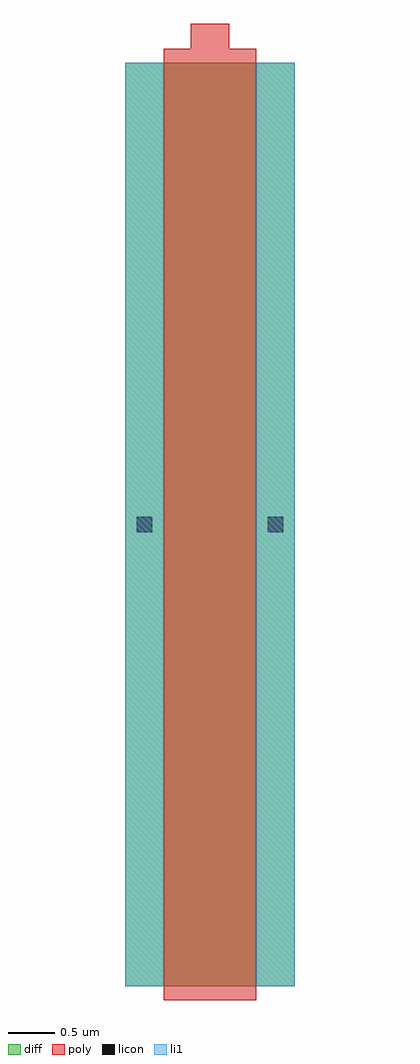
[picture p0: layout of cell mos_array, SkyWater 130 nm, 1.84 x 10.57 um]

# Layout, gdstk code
import gdstk
lib = gdstk.Library(unit=1e-6, precision=1e-09)
def R(c, l, rs):  # rectangles x0, y0, x1, y1
    for r in rs: c.add(gdstk.rectangle(r[:2], r[2:], *l))
diff = (65, 20)
poly = (66, 20)
licon = (66, 44)
li1 = (67, 20)

mos_array = lib.new_cell('mos_array')
R(mos_array, diff, [(0,0,1.84,10)])
R(mos_array, poly, [(0.42,-0.15,1.42,10), (0.42,10,1.42,10.15), (0.71,10,1.13,10.42)])
R(mos_array, licon, [(0.125,4.915,0.295,5.085), (1.545,4.915,1.715,5.085)])
R(mos_array, li1, [(0,0,0.42,10), (1.42,0,1.84,10)])

lib.write_gds('mos_array.gds')
